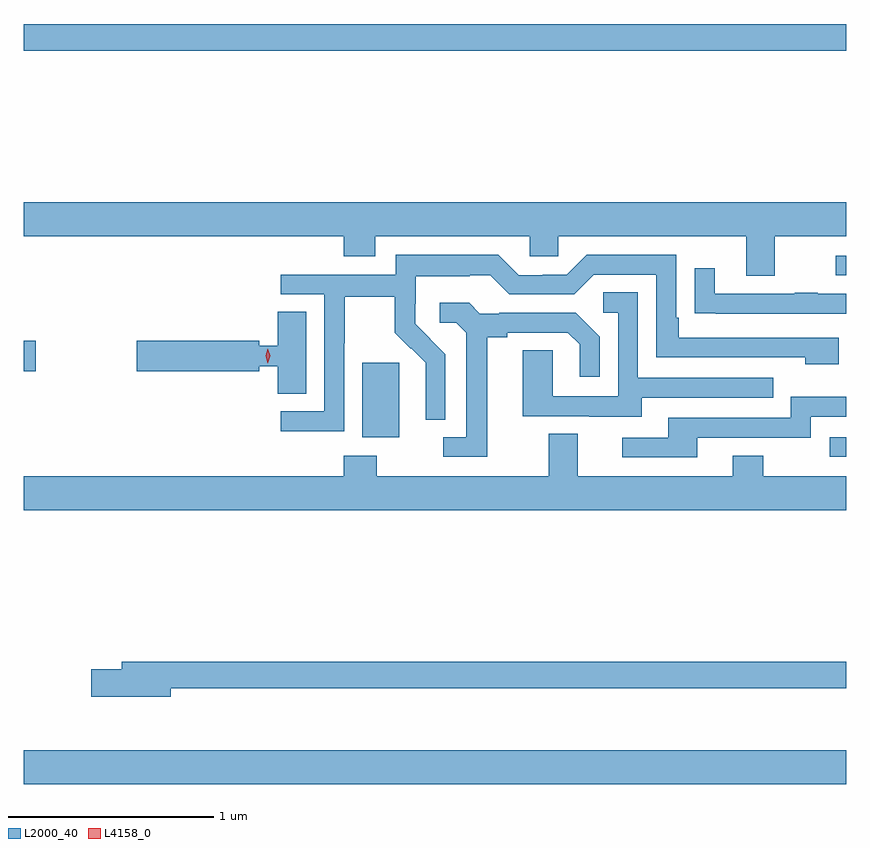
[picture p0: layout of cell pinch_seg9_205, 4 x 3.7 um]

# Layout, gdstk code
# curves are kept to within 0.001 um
import gdstk
lib = gdstk.Library(unit=1e-6, precision=1e-09)
def R(c, l, rs):  # rectangles x0, y0, x1, y1
    for r in rs: c.add(gdstk.rectangle(r[:2], r[2:], *l))
def P(c, l, *ps):  # polygons
    for p in ps: c.add(gdstk.Polygon(p, *l))
L2000_40 = (2000, 40)
L4158_0 = (4158, 0)

pinch_seg9_205 = lib.new_cell('pinch_seg9_205')
R(pinch_seg9_205, L2000_40, [(597.242,1223.06,601.242,1223.224), (601.161,1224.651,601.242,1224.747), (598.889,1224.746,599.068,1225.107), (597.242,1225.067,597.301,1225.214), (601.191,1225.533,601.242,1225.629), (597.242,1226.626,601.242,1226.755)])
P(pinch_seg9_205, L2000_40, [(600.895,1225.724),(601.242,1225.724),(601.242,1225.888),(597.242,1225.888),(597.242,1225.724),(598.799,1225.724),(598.799,1225.625),(598.951,1225.625),(598.951,1225.724),(599.703,1225.724),(599.703,1225.626),(599.841,1225.626),(599.841,1225.724),(600.755,1225.724),(600.755,1225.53),(600.895,1225.53)],
  [(598.8,1225.204),(598.803,1225.204),(598.803,1225.428),(599.047,1225.428),(599.047,1225.253),(599.124,1225.176),(599.127,1225.179),(599.198,1225.109),(599.198,1224.986),(599.196,1224.986),(599.196,1224.832),(599.292,1224.832),(599.292,1225.15),(599.146,1225.298),(599.146,1225.395),(599.148,1225.395),(599.148,1225.529),(599.411,1225.529),(599.411,1225.533),(599.511,1225.533),(599.604,1225.44),(599.919,1225.44),(600.015,1225.536),(600.318,1225.536),(600.318,1225.134),(601.043,1225.134),(601.043,1225.1),(601.204,1225.1),(601.204,1225.23),(600.427,1225.23),(600.427,1225.327),(600.414,1225.327),(600.414,1225.632),(599.979,1225.632),(599.883,1225.536),(599.765,1225.536),(599.765,1225.533),(599.649,1225.533),(599.549,1225.633),(599.052,1225.633),(599.052,1225.536),(598.491,1225.536),(598.491,1225.44),(598.704,1225.44),(598.704,1224.873),(598.491,1224.873),(598.491,1224.775),(598.8,1224.775)],
  [(601.242,1225.443),(601.103,1225.443),(601.103,1225.448),(600.991,1225.448),(600.991,1225.443),(600.601,1225.443),(600.601,1225.567),(600.505,1225.567),(600.505,1225.348),(600.607,1225.348),(600.607,1225.347),(601.242,1225.347)],
  [(600.247,1224.939),(600.887,1224.939),(600.887,1225.035),(600.228,1225.035),(600.228,1225.451),(600.06,1225.451),(600.06,1225.35),(600.132,1225.35),(600.132,1224.945),(599.814,1224.945),(599.814,1225.169),(599.669,1225.169),(599.669,1224.849),(599.993,1224.849),(599.993,1224.845),(600.247,1224.845)],
  [(599.497,1225.232),(599.593,1225.232),(599.593,1225.254),(599.888,1225.254),(599.945,1225.197),(599.945,1225.041),(600.042,1225.041),(600.042,1225.234),(599.926,1225.35),(599.554,1225.35),(599.554,1225.347),(599.46,1225.347),(599.408,1225.399),(599.265,1225.399),(599.265,1225.302),(599.346,1225.302),(599.393,1225.255),(599.393,1224.747),(599.283,1224.747),(599.283,1224.651),(599.497,1224.651)],
  [(598.615,1225.355),(598.477,1225.355),(598.477,1225.191),(598.388,1225.191),(598.388,1225.214),(597.792,1225.214),(597.792,1225.067),(598.388,1225.067),(598.388,1225.091),(598.477,1225.091),(598.477,1224.958),(598.615,1224.958)],
  [(600.517,1224.744),(601.068,1224.744),(601.068,1224.846),(601.242,1224.846),(601.242,1224.943),(600.972,1224.943),(600.972,1224.84),(600.377,1224.84),(600.377,1224.744),(600.153,1224.744),(600.153,1224.648),(600.517,1224.648)],
  [(601.242,1224.556),(600.837,1224.556),(600.837,1224.655),(600.689,1224.655),(600.689,1224.556),(599.935,1224.556),(599.935,1224.764),(599.795,1224.764),(599.795,1224.556),(598.959,1224.556),(598.959,1224.655),(598.799,1224.655),(598.799,1224.556),(597.242,1224.556),(597.242,1224.392),(601.242,1224.392)],
  [(597.958,1223.526),(601.242,1223.526),(601.242,1223.654),(597.719,1223.654),(597.719,1223.618),(597.57,1223.618),(597.57,1223.483),(597.958,1223.483)])
P(pinch_seg9_205, L4158_0, [(598.43,1225.106),(598.43,1225.106),(598.42,1225.141),(598.43,1225.176),(598.43,1225.177),(598.43,1225.176),(598.44,1225.141),(598.43,1225.106)])

lib.write_gds('pinch_seg9_205.gds')
